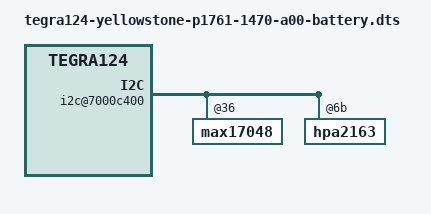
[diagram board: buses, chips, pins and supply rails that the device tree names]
#include "tegra124-yellowstone-p1761-1470-a00.dts"
#include "tegra124-platforms/tegra124-yellowstone-sysedp-e1780-1100-a02.dtsi"

/ {
	i2c@7000c400 {
		max17048@36 {
			status = "okay";
		};

		hpa2163@6b {
			charger {
				status = "okay";
			};
		};
	};
};
